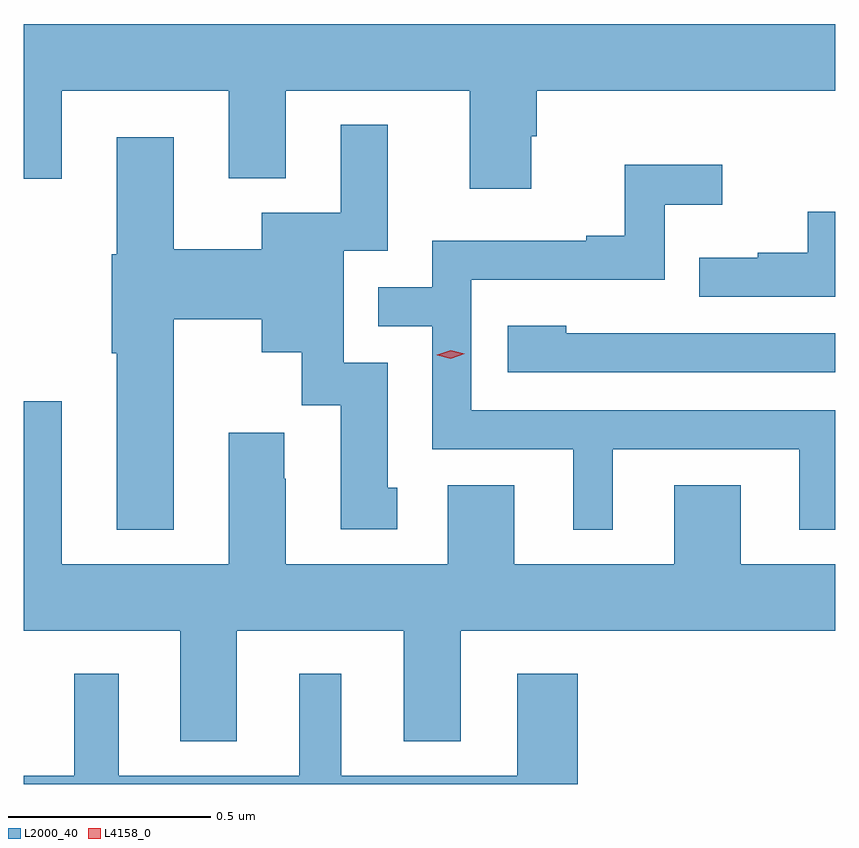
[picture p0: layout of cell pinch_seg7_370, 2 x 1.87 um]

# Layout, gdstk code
import gdstk
lib = gdstk.Library(unit=1e-6, precision=1e-09)
def P(c, l, *ps):  # polygons
    for p in ps: c.add(gdstk.Polygon(p, *l))
L2000_40 = (2000, 40)
L4158_0 = (4158, 0)

pinch_seg7_370 = lib.new_cell('pinch_seg7_370')
P(pinch_seg7_370, L2000_40, [(388.675,1024.479),(388.688,1024.479),(388.688,1024.592),(389.424,1024.592),(389.424,1024.756),(387.424,1024.756),(387.424,1024.374),(387.517,1024.374),(387.517,1024.592),(387.929,1024.592),(387.929,1024.376),(388.069,1024.376),(388.069,1024.592),(388.523,1024.592),(388.523,1024.35),(388.675,1024.35)],
  [(387.793,1024.028),(388.01,1024.028),(388.01,1023.947),(388.109,1023.947),(388.109,1023.816),(388.205,1023.816),(388.205,1023.51),(388.345,1023.51),(388.345,1023.612),(388.321,1023.612),(388.321,1023.921),(388.212,1023.921),(388.212,1024.197),(388.321,1024.197),(388.321,1024.507),(388.205,1024.507),(388.205,1024.291),(388.01,1024.291),(388.01,1024.2),(387.793,1024.2),(387.793,1024.477),(387.653,1024.477),(387.653,1024.188),(387.641,1024.188),(387.641,1023.944),(387.653,1023.944),(387.653,1023.509),(387.793,1023.509)],
  [(388.876,1023.708),(389.336,1023.708),(389.336,1023.509),(389.424,1023.509),(389.424,1023.804),(388.527,1023.804),(388.527,1024.125),(389.004,1024.125),(389.004,1024.31),(389.146,1024.31),(389.146,1024.409),(388.906,1024.409),(388.906,1024.234),(388.811,1024.234),(388.811,1024.221),(388.431,1024.221),(388.431,1024.107),(388.298,1024.107),(388.298,1024.011),(388.431,1024.011),(388.431,1023.708),(388.778,1023.708),(388.778,1023.509),(388.876,1023.509)],
  [(389.424,1024.293),(389.357,1024.293),(389.357,1024.192),(389.233,1024.192),(389.233,1024.18),(389.089,1024.18),(389.089,1024.083),(389.424,1024.083)],
  [(389.424,1023.993),(388.997,1023.993),(388.997,1023.994),(388.761,1023.994),(388.761,1024.012),(388.617,1024.012),(388.617,1023.897),(389.424,1023.897)],
  [(387.949,1023.26),(388.361,1023.26),(388.361,1022.987),(388.501,1022.987),(388.501,1023.26),(389.424,1023.26),(389.424,1023.424),(389.191,1023.424),(389.191,1023.619),(389.027,1023.619),(389.027,1023.424),(388.633,1023.424),(388.633,1023.619),(388.469,1023.619),(388.469,1023.424),(388.069,1023.424),(388.069,1023.635),(388.066,1023.635),(388.066,1023.748),(387.929,1023.748),(387.929,1023.424),(387.517,1023.424),(387.517,1023.826),(387.424,1023.826),(387.424,1023.26),(387.809,1023.26),(387.809,1022.987),(387.949,1022.987)],
  [(388.79,1023.154),(388.64,1023.154),(388.64,1022.902),(388.207,1022.902),(388.207,1023.154),(388.103,1023.154),(388.103,1022.902),(387.658,1022.902),(387.658,1023.154),(387.548,1023.154),(387.548,1022.902),(387.424,1022.902),(387.424,1022.882),(388.79,1022.882)])
P(pinch_seg7_370, L4158_0, [(388.477,1023.931),(388.443,1023.939),(388.442,1023.94),(388.443,1023.94),(388.476,1023.951),(388.511,1023.943),(388.511,1023.943),(388.511,1023.943)])

lib.write_gds('pinch_seg7_370.gds')
